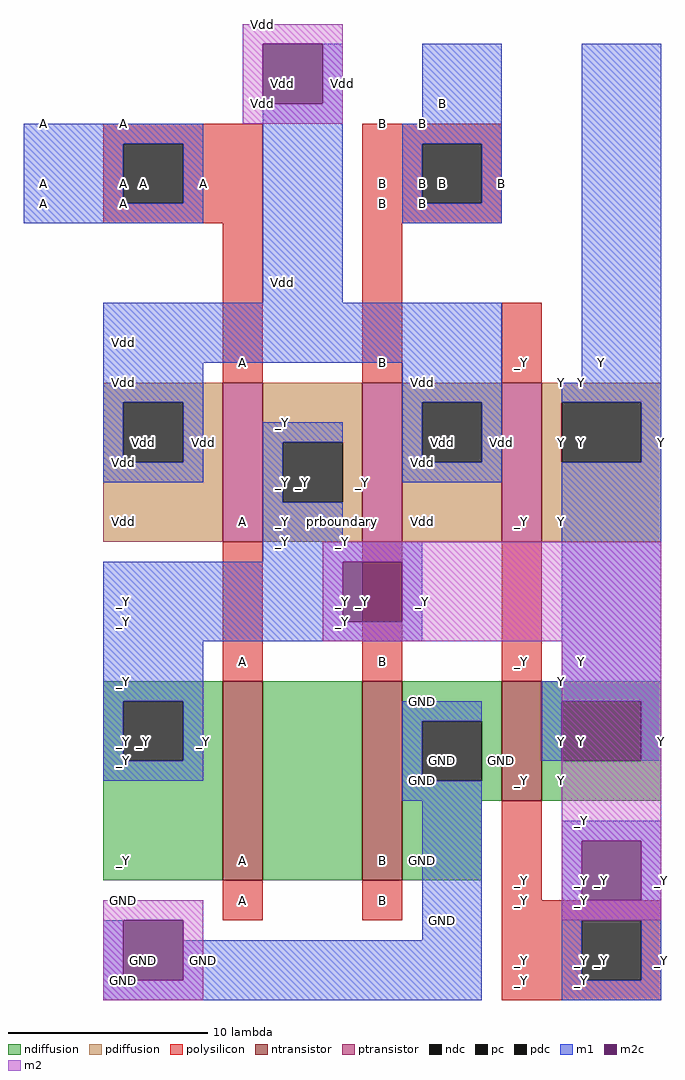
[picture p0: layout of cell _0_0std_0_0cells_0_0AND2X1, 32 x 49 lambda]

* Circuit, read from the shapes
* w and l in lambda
.subckt _0_0std_0_0cells_0_0AND2X1 Y B A
M1 n1 A _Y VSUBS nfet w=10 l=2
M2 GND B n1 VSUBS nfet w=10 l=2
M3 Y _Y GND VSUBS nfet w=6 l=2
M4 _Y A Vdd NWELL pfet w=8 l=2
M5 Vdd B _Y NWELL pfet w=8 l=2
M6 Y _Y Vdd NWELL pfet w=8 l=2
.ends

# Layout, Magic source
magic
tech sky130l
<< ndiffusion >>
rect 8 19 14 20
rect 8 16 9 19
rect 12 16 14 19
rect 8 10 14 16
rect 16 10 21 20
rect 23 18 28 20
rect 23 15 24 18
rect 27 15 28 18
rect 23 14 28 15
rect 30 19 36 20
rect 30 16 31 19
rect 35 16 36 19
rect 30 14 36 16
rect 23 10 27 14
<< ndc >>
rect 9 16 12 19
rect 24 15 27 18
rect 31 16 35 19
<< ntransistor >>
rect 14 10 16 20
rect 21 10 23 20
rect 28 14 30 20
<< pdiffusion >>
rect 8 34 14 35
rect 8 31 9 34
rect 12 31 14 34
rect 8 27 14 31
rect 16 32 21 35
rect 16 29 17 32
rect 20 29 21 32
rect 16 27 21 29
rect 23 34 28 35
rect 23 31 24 34
rect 27 31 28 34
rect 23 27 28 31
rect 30 34 36 35
rect 30 31 31 34
rect 35 31 36 34
rect 30 27 36 31
<< pdc >>
rect 9 31 12 34
rect 17 29 20 32
rect 24 31 27 34
rect 31 31 35 34
<< ptransistor >>
rect 14 27 16 35
rect 21 27 23 35
rect 28 27 30 35
<< polysilicon >>
rect 8 47 16 48
rect 8 44 9 47
rect 12 44 16 47
rect 8 43 16 44
rect 14 35 16 43
rect 21 47 28 48
rect 21 44 24 47
rect 27 44 28 47
rect 21 43 28 44
rect 21 35 23 43
rect 28 35 30 39
rect 14 20 16 27
rect 21 20 23 27
rect 28 20 30 27
rect 14 8 16 10
rect 21 8 23 10
rect 28 9 30 14
rect 28 8 36 9
rect 28 5 32 8
rect 35 5 36 8
rect 28 4 36 5
<< pc >>
rect 9 44 12 47
rect 24 44 27 47
rect 32 5 35 8
<< m1 >>
rect 19 49 20 52
rect 4 47 13 48
rect 4 44 9 47
rect 12 44 13 47
rect 4 43 13 44
rect 16 39 20 49
rect 24 48 28 52
rect 23 47 28 48
rect 23 44 24 47
rect 27 44 28 47
rect 23 43 28 44
rect 8 36 28 39
rect 8 34 13 36
rect 8 31 9 34
rect 12 31 13 34
rect 23 34 28 36
rect 32 35 36 52
rect 8 30 13 31
rect 16 32 20 33
rect 16 29 17 32
rect 23 31 24 34
rect 27 31 28 34
rect 23 30 28 31
rect 31 34 36 35
rect 35 31 36 34
rect 16 27 20 29
rect 16 26 24 27
rect 8 23 20 26
rect 23 23 24 26
rect 8 22 24 23
rect 8 19 13 22
rect 31 20 36 31
rect 30 19 36 20
rect 8 16 9 19
rect 12 16 13 19
rect 8 15 13 16
rect 23 18 27 19
rect 23 15 24 18
rect 30 16 31 19
rect 35 16 36 19
rect 23 14 27 15
rect 8 5 9 8
rect 24 7 27 14
rect 12 5 27 7
rect 8 4 27 5
rect 31 12 36 13
rect 31 9 32 12
rect 35 9 36 12
rect 31 8 36 9
rect 31 5 32 8
rect 35 5 36 8
rect 31 4 36 5
<< m2c >>
rect 16 49 19 52
rect 20 23 23 26
rect 9 5 12 8
rect 32 9 35 12
<< m2 >>
rect 15 52 20 53
rect 15 49 16 52
rect 19 49 20 52
rect 15 48 20 49
rect 19 26 36 27
rect 19 23 20 26
rect 23 23 36 26
rect 19 22 36 23
rect 31 12 36 22
rect 31 9 32 12
rect 35 9 36 12
rect 8 8 13 9
rect 31 8 36 9
rect 8 5 9 8
rect 12 5 13 8
rect 8 4 13 5
<< labels >>
rlabel space 0 0 40 56 6 prboundary
rlabel ndiffusion 31 15 31 15 3 Y
rlabel ndiffusion 28 16 28 16 3 GND
rlabel pdiffusion 31 28 31 28 3 Y
rlabel pdiffusion 31 32 31 32 3 Y
rlabel pdiffusion 31 35 31 35 3 Y
rlabel polysilicon 29 9 29 9 3 _Y
rlabel polysilicon 29 10 29 10 3 _Y
rlabel ntransistor 29 15 29 15 3 _Y
rlabel polysilicon 29 21 29 21 3 _Y
rlabel ptransistor 29 28 29 28 3 _Y
rlabel polysilicon 29 36 29 36 3 _Y
rlabel ndiffusion 24 11 24 11 3 GND
rlabel pdiffusion 24 28 24 28 3 Vdd
rlabel pdiffusion 21 30 21 30 3 _Y
rlabel polysilicon 22 9 22 9 3 B
rlabel ntransistor 22 11 22 11 3 B
rlabel polysilicon 22 21 22 21 3 B
rlabel ptransistor 22 28 22 28 3 B
rlabel polysilicon 22 36 22 36 3 B
rlabel polysilicon 22 44 22 44 3 B
rlabel polysilicon 22 45 22 45 3 B
rlabel polysilicon 22 48 22 48 3 B
rlabel polysilicon 29 5 29 5 3 _Y
rlabel polysilicon 29 6 29 6 3 _Y
rlabel polysilicon 15 9 15 9 3 A
rlabel ntransistor 15 11 15 11 3 A
rlabel polysilicon 15 21 15 21 3 A
rlabel ptransistor 15 28 15 28 3 A
rlabel polysilicon 15 36 15 36 3 A
rlabel ndiffusion 9 11 9 11 3 _Y
rlabel pdiffusion 9 28 9 28 3 Vdd
rlabel polysilicon 9 44 9 44 3 A
rlabel polysilicon 9 45 9 45 3 A
rlabel polysilicon 9 48 9 48 3 A
rlabel m1 36 32 36 32 3 Y
port 1 e
rlabel pdc 32 32 32 32 3 Y
port 1 e
rlabel m1 33 36 33 36 3 Y
port 1 e
rlabel m1 28 32 28 32 3 Vdd
rlabel m1 32 35 32 35 3 Y
port 1 e
rlabel m1 36 17 36 17 3 Y
port 1 e
rlabel pdc 25 32 25 32 3 Vdd
rlabel m1 28 45 28 45 3 B
port 2 e
rlabel m1 36 6 36 6 3 _Y
rlabel ndc 32 17 32 17 3 Y
port 1 e
rlabel m1 32 21 32 21 3 Y
port 1 e
rlabel m1 24 19 24 19 3 GND
rlabel m1 24 31 24 31 3 Vdd
rlabel m1 24 32 24 32 3 Vdd
rlabel m1 24 35 24 35 3 Vdd
rlabel pc 25 45 25 45 3 B
port 2 e
rlabel m1 25 49 25 49 3 B
port 2 e
rlabel pc 33 6 33 6 3 _Y
rlabel m1 31 17 31 17 3 Y
port 1 e
rlabel m1 31 20 31 20 3 Y
port 1 e
rlabel m1 24 44 24 44 3 B
port 2 e
rlabel m1 24 45 24 45 3 B
port 2 e
rlabel m1 24 48 24 48 3 B
port 2 e
rlabel m1 32 6 32 6 3 _Y
rlabel m1 25 8 25 8 3 GND
rlabel pdc 18 30 18 30 3 _Y
rlabel m1 17 33 17 33 3 _Y
rlabel m1 24 15 24 15 3 GND
rlabel ndc 25 16 25 16 3 GND
rlabel m1 17 27 17 27 3 _Y
rlabel m1 17 28 17 28 3 _Y
rlabel m1 17 30 17 30 3 _Y
rlabel m1 17 40 17 40 3 Vdd
rlabel m1 32 5 32 5 3 _Y
rlabel m1 24 16 24 16 3 GND
rlabel m1 13 17 13 17 3 _Y
rlabel m1 13 32 13 32 3 Vdd
rlabel ndc 10 17 10 17 3 _Y
rlabel pdc 10 32 10 32 3 Vdd
rlabel m1 13 45 13 45 3 A
port 3 e
rlabel m1 9 16 9 16 3 _Y
rlabel m1 9 17 9 17 3 _Y
rlabel m1 9 20 9 20 3 _Y
rlabel m1 9 23 9 23 3 _Y
rlabel m1 9 24 9 24 3 _Y
rlabel m1 9 31 9 31 3 Vdd
rlabel m1 9 32 9 32 3 Vdd
rlabel m1 9 35 9 35 3 Vdd
rlabel m1 9 37 9 37 3 Vdd
rlabel pc 10 45 10 45 3 A
port 3 e
rlabel m1 5 44 5 44 3 A
port 3 e
rlabel m1 5 45 5 45 3 A
port 3 e
rlabel m1 5 48 5 48 3 A
port 3 e
rlabel m2 36 10 36 10 3 _Y
rlabel m2c 33 10 33 10 3 _Y
rlabel m2 32 9 32 9 3 _Y
rlabel m2 32 10 32 10 3 _Y
rlabel m2 32 13 32 13 3 _Y
rlabel m2 24 24 24 24 3 _Y
rlabel m2c 21 24 21 24 3 _Y
rlabel m2 20 50 20 50 3 Vdd
rlabel m2 20 23 20 23 3 _Y
rlabel m2 20 24 20 24 3 _Y
rlabel m2 20 27 20 27 3 _Y
rlabel m2c 17 50 17 50 3 Vdd
rlabel m2 13 6 13 6 3 GND
rlabel m2 16 49 16 49 3 Vdd
rlabel m2 16 50 16 50 3 Vdd
rlabel m2 16 53 16 53 3 Vdd
rlabel m2c 10 6 10 6 3 GND
rlabel m2 9 5 9 5 3 GND
rlabel m2 9 6 9 6 3 GND
rlabel m2 9 9 9 9 3 GND
<< end >>
